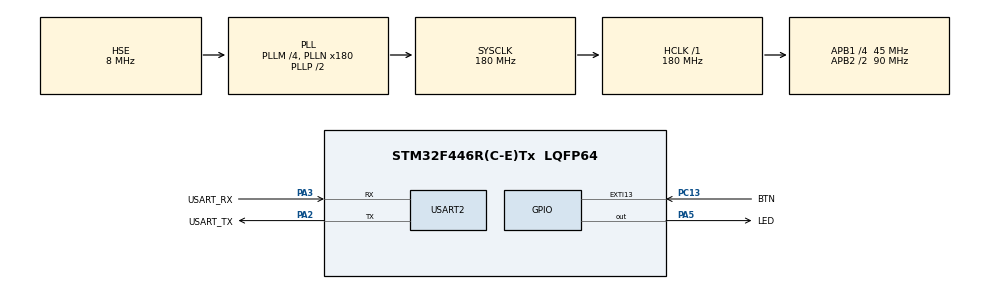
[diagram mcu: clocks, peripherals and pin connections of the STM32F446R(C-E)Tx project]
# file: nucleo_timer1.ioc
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Mcu.Family=STM32F4
Mcu.Name=STM32F446R(C-E)Tx
Mcu.Package=LQFP64
NVIC.PriorityGroup=NVIC_PRIORITYGROUP_0
NVIC.TIM4_IRQn=true\:0\:0\:false\:false\:true\:true\:true\:true
PA13.GPIO_Label=TMS
PA13.Mode=Serial_Wire
PA13.Signal=SYS_JTMS-SWDIO
PA14.GPIO_Label=TCK
PA14.Mode=Serial_Wire
PA14.Signal=SYS_JTCK-SWCLK
PA2.GPIO_Label=USART_TX
PA2.Mode=Asynchronous
PA2.Signal=USART2_TX
PA3.GPIO_Label=USART_RX
PA3.Mode=Asynchronous
PA3.Signal=USART2_RX
PA5.GPIO_Label=LED
PA5.Signal=GPIO_Output
PB3.GPIO_Label=SWO
PB3.Signal=SYS_JTDO-SWO
PC13.GPIO_Label=BTN
PC13.GPIO_ModeDefaultEXTI=GPIO_MODE_IT_FALLING
PC13.Signal=GPXTI13
PC14-OSC32_IN.Mode=LSE-External-Oscillator
PC14-OSC32_IN.Signal=RCC_OSC32_IN
PC15-OSC32_OUT.Mode=LSE-External-Oscillator
PC15-OSC32_OUT.Signal=RCC_OSC32_OUT
PH0-OSC_IN.Mode=HSE-External-Oscillator
PH0-OSC_IN.Signal=RCC_OSC_IN
PH1-OSC_OUT.Mode=HSE-External-Oscillator
PH1-OSC_OUT.Signal=RCC_OSC_OUT
ProjectManager.HeapSize=0x200
ProjectManager.StackSize=0x400
ProjectManager.TargetToolchain=STM32CubeIDE
RCC.48MHZClocksFreq_Value=84000000
RCC.AHBFreq_Value=180000000
RCC.APB1CLKDivider=RCC_HCLK_DIV4
RCC.APB1Freq_Value=45000000
RCC.APB1TimFreq_Value=90000000
RCC.APB2CLKDivider=RCC_HCLK_DIV2
RCC.APB2Freq_Value=90000000
RCC.APB2TimFreq_Value=180000000
RCC.CortexFreq_Value=180000000
RCC.FLatency-AdvancedSettings=FLASH_LATENCY_5
RCC.HCLKFreq_Value=180000000
RCC.HSE_VALUE=8000000
RCC.HSI_VALUE=16000000
RCC.PLLM=4
RCC.PLLN=180
RCC.PLLSourceVirtual=RCC_PLLSOURCE_HSE
RCC.SYSCLKFreq_VALUE=180000000
RCC.SYSCLKSource=RCC_SYSCLKSOURCE_PLLCLK
RCC.USBFreq_Value=180000000
RCC.VCOOutputFreq_Value=360000000
TIM4.Period=4999
TIM4.Prescaler=8999
USART2.VirtualMode=VM_ASYNC
VP_TIM4_VS_ClockSourceINT.Mode=Internal
board=NUCLEO-F446RE

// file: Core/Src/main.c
/* USER CODE BEGIN Header */
/**
  ******************************************************************************
  * @file           : main.c
  * @brief          : Main program body
  ******************************************************************************
  * @attention
  *
  * Copyright (c) 2025 STMicroelectronics.
  * All rights reserved.
  *
  * This software is licensed under terms that can be found in the LICENSE file
  * in the root directory of this software component.
  * If no LICENSE file comes with this software, it is provided AS-IS.
  *
  ******************************************************************************
  */
/* USER CODE END Header */
#include "main.h"

/* USER CODE BEGIN Includes */
#include <stdio.h>
/* USER CODE END Includes */

/* USER CODE BEGIN PD */
#define TICK_DELAY 1000
/* USER CODE END PD */

TIM_HandleTypeDef htim4;

UART_HandleTypeDef huart2;

void SystemClock_Config(void);
static void MX_GPIO_Init(void);
static void MX_USART2_UART_Init(void);
static void MX_TIM4_Init(void);

/* USER CODE BEGIN 0 */
int _write(int fd, char* ptr, int len) {
  HAL_StatusTypeDef hstatus;

  if (fd == 1 || fd == 2) {
    hstatus = HAL_UART_Transmit(&huart2, (uint8_t *) ptr, len, HAL_MAX_DELAY);
    if (hstatus == HAL_OK)
      return len;
    else
      return -1;
  }
  return -1;
}

void HAL_TIM_PeriodElapsedCallback(TIM_HandleTypeDef *htim){
	HAL_GPIO_TogglePin(LED_GPIO_Port, LED_Pin);
}

/* USER CODE END 0 */

int main(void)
{

  /* MCU Configuration--------------------------------------------------------*/

  /* Reset of all peripherals, Initializes the Flash interface and the Systick. */
  HAL_Init();

  /* Configure the system clock */
  SystemClock_Config();

  /* Initialize all configured peripherals */
  MX_GPIO_Init();
  MX_USART2_UART_Init();
  MX_TIM4_Init();
  /* USER CODE BEGIN 2 */
  HAL_TIM_Base_Start_IT(&htim4);
  printf("Starting nucleo_timer1\n");
  /* USER CODE END 2 */

  /* Infinite loop */
  /* USER CODE BEGIN WHILE */
  uint32_t now = 0, next_tick = TICK_DELAY;
  while (1)
  {
	  now = HAL_GetTick();

	  if (now >= next_tick){
		  printf("Tick %lu\n",now / 1000);
		  next_tick = now + TICK_DELAY;
	  }
    /* USER CODE END WHILE */

  }
}

void SystemClock_Config(void)
{
  RCC_OscInitTypeDef RCC_OscInitStruct = {0};
  RCC_ClkInitTypeDef RCC_ClkInitStruct = {0};

  /** Configure the main internal regulator output voltage
  */
  __HAL_RCC_PWR_CLK_ENABLE();
  __HAL_PWR_VOLTAGESCALING_CONFIG(PWR_REGULATOR_VOLTAGE_SCALE1);

  /** Initializes the RCC Oscillators according to the specified parameters
  * in the RCC_OscInitTypeDef structure.
  */
  RCC_OscInitStruct.OscillatorType = RCC_OSCILLATORTYPE_HSE;
  RCC_OscInitStruct.HSEState = RCC_HSE_ON;
  RCC_OscInitStruct.PLL.PLLState = RCC_PLL_ON;
  RCC_OscInitStruct.PLL.PLLSource = RCC_PLLSOURCE_HSE;
  RCC_OscInitStruct.PLL.PLLM = 4;
  RCC_OscInitStruct.PLL.PLLN = 180;
  RCC_OscInitStruct.PLL.PLLP = RCC_PLLP_DIV2;
  RCC_OscInitStruct.PLL.PLLQ = 2;
  RCC_OscInitStruct.PLL.PLLR = 2;
  if (HAL_RCC_OscConfig(&RCC_OscInitStruct) != HAL_OK)
  {
    Error_Handler();
  }

  /** Activate the Over-Drive mode
  */
  if (HAL_PWREx_EnableOverDrive() != HAL_OK)
  {
    Error_Handler();
  }

  /** Initializes the CPU, AHB and APB buses clocks
  */
  RCC_ClkInitStruct.ClockType = RCC_CLOCKTYPE_HCLK|RCC_CLOCKTYPE_SYSCLK
                              |RCC_CLOCKTYPE_PCLK1|RCC_CLOCKTYPE_PCLK2;
  RCC_ClkInitStruct.SYSCLKSource = RCC_SYSCLKSOURCE_PLLCLK;
  RCC_ClkInitStruct.AHBCLKDivider = RCC_SYSCLK_DIV1;
  RCC_ClkInitStruct.APB1CLKDivider = RCC_HCLK_DIV4;
  RCC_ClkInitStruct.APB2CLKDivider = RCC_HCLK_DIV2;

  if (HAL_RCC_ClockConfig(&RCC_ClkInitStruct, FLASH_LATENCY_5) != HAL_OK)
  {
    Error_Handler();
  }
}

static void MX_TIM4_Init(void)
{

  TIM_ClockConfigTypeDef sClockSourceConfig = {0};
  TIM_MasterConfigTypeDef sMasterConfig = {0};

  htim4.Instance = TIM4;
  htim4.Init.Prescaler = 8999;
  htim4.Init.CounterMode = TIM_COUNTERMODE_UP;
  htim4.Init.Period = 4999;
  htim4.Init.ClockDivision = TIM_CLOCKDIVISION_DIV1;
  htim4.Init.AutoReloadPreload = TIM_AUTORELOAD_PRELOAD_DISABLE;
  if (HAL_TIM_Base_Init(&htim4) != HAL_OK)
  {
    Error_Handler();
  }
  sClockSourceConfig.ClockSource = TIM_CLOCKSOURCE_INTERNAL;
  if (HAL_TIM_ConfigClockSource(&htim4, &sClockSourceConfig) != HAL_OK)
  {
    Error_Handler();
  }
  sMasterConfig.MasterOutputTrigger = TIM_TRGO_RESET;
  sMasterConfig.MasterSlaveMode = TIM_MASTERSLAVEMODE_DISABLE;
  if (HAL_TIMEx_MasterConfigSynchronization(&htim4, &sMasterConfig) != HAL_OK)
  {
    Error_Handler();
  }

}

static void MX_USART2_UART_Init(void)
{

  huart2.Instance = USART2;
  huart2.Init.BaudRate = 115200;
  huart2.Init.WordLength = UART_WORDLENGTH_8B;
  huart2.Init.StopBits = UART_STOPBITS_1;
  huart2.Init.Parity = UART_PARITY_NONE;
  huart2.Init.Mode = UART_MODE_TX_RX;
  huart2.Init.HwFlowCtl = UART_HWCONTROL_NONE;
  huart2.Init.OverSampling = UART_OVERSAMPLING_16;
  if (HAL_UART_Init(&huart2) != HAL_OK)
  {
    Error_Handler();
  }

}

static void MX_GPIO_Init(void)
{
  GPIO_InitTypeDef GPIO_InitStruct = {0};

  /* GPIO Ports Clock Enable */
  __HAL_RCC_GPIOC_CLK_ENABLE();
  __HAL_RCC_GPIOH_CLK_ENABLE();
  __HAL_RCC_GPIOA_CLK_ENABLE();
  __HAL_RCC_GPIOB_CLK_ENABLE();

  /*Configure GPIO pin Output Level */
  HAL_GPIO_WritePin(LED_GPIO_Port, LED_Pin, GPIO_PIN_RESET);

  /*Configure GPIO pin : BTN_Pin */
  GPIO_InitStruct.Pin = BTN_Pin;
  GPIO_InitStruct.Mode = GPIO_MODE_IT_FALLING;
  GPIO_InitStruct.Pull = GPIO_NOPULL;
  HAL_GPIO_Init(BTN_GPIO_Port, &GPIO_InitStruct);

  /*Configure GPIO pin : LED_Pin */
  GPIO_InitStruct.Pin = LED_Pin;
  GPIO_InitStruct.Mode = GPIO_MODE_OUTPUT_PP;
  GPIO_InitStruct.Pull = GPIO_NOPULL;
  GPIO_InitStruct.Speed = GPIO_SPEED_FREQ_LOW;
  HAL_GPIO_Init(LED_GPIO_Port, &GPIO_InitStruct);

}

void Error_Handler(void)
{
  __disable_irq();
  while (1)
  {
  }
}
